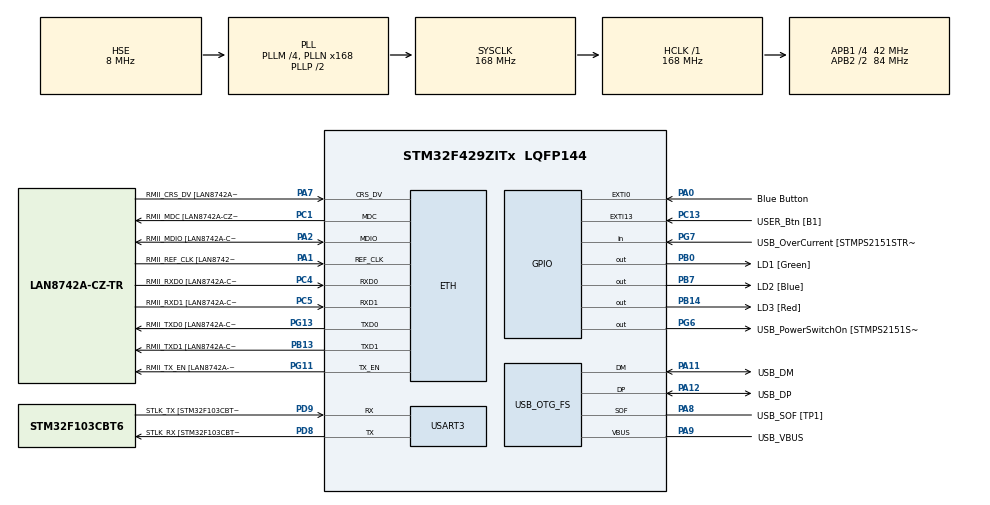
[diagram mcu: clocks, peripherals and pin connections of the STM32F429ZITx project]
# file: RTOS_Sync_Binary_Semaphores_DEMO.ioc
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ETH.MediaInterface=HAL_ETH_RMII_MODE
ETH.PHY_Name=LAN8742A_PHY_ADDRESS
ETH.PHY_Value=0
ETH.PhyAddress=0
FREERTOS.BinarySemaphores01=myBinarySem01,Dynamic,NULL
FREERTOS.Tasks01=Task1,24,128,StartTask1,Default,NULL,Dynamic,NULL,NULL;Task2,24,128,StartTask2,Default,NULL,Dynamic,NULL,NULL
FREERTOS.configGENERATE_RUN_TIME_STATS=1
FREERTOS.configRECORD_STACK_HIGH_ADDRESS=1
FREERTOS.configUSE_NEWLIB_REENTRANT=1
FREERTOS.configUSE_STATS_FORMATTING_FUNCTIONS=1
Mcu.Family=STM32F4
Mcu.Name=STM32F429ZITx
Mcu.Package=LQFP144
NVIC.PriorityGroup=NVIC_PRIORITYGROUP_4
NVIC.TIM2_IRQn=true\:15\:0\:false\:false\:true\:false\:false\:true\:true
NVIC.TimeBase=TIM2_IRQn
NVIC.TimeBaseIP=TIM2
PA0/WKUP.GPIO_Label=Blue Button
PA0/WKUP.GPIO_ModeDefaultEXTI=GPIO_MODE_IT_RISING_FALLING
PA0/WKUP.Signal=GPXTI0
PA1.GPIO_Label=RMII_REF_CLK [LAN8742A-CZ-TR_REFCLK0]
PA1.Mode=RMII
PA1.Signal=ETH_REF_CLK
PA10.GPIO_Label=USB_ID
PA10.Signal=USB_OTG_FS_ID
PA11.GPIO_Label=USB_DM
PA11.Mode=Device_Only
PA11.Signal=USB_OTG_FS_DM
PA12.GPIO_Label=USB_DP
PA12.Mode=Device_Only
PA12.Signal=USB_OTG_FS_DP
PA13.GPIO_Label=TMS
PA13.Mode=Serial_Wire
PA13.Signal=SYS_JTMS-SWDIO
PA14.GPIO_Label=TCK
PA14.Mode=Serial_Wire
PA14.Signal=SYS_JTCK-SWCLK
PA2.GPIO_Label=RMII_MDIO [LAN8742A-CZ-TR_MDIO]
PA2.Mode=RMII
PA2.Signal=ETH_MDIO
PA7.GPIO_Label=RMII_CRS_DV [LAN8742A-CZ-TR_CRS_DV]
PA7.Mode=RMII
PA7.Signal=ETH_CRS_DV
PA8.GPIO_Label=USB_SOF [TP1]
PA8.Mode=Activate_SOF_FS
PA8.Signal=USB_OTG_FS_SOF
PA9.GPIO_Label=USB_VBUS
PA9.Mode=Activate_VBUS
PA9.Signal=USB_OTG_FS_VBUS
PB0.GPIO_Label=LD1 [Green]
PB0.Signal=GPIO_Output
PB13.GPIO_Label=RMII_TXD1 [LAN8742A-CZ-TR_TXD1]
PB13.Mode=RMII
PB13.Signal=ETH_TXD1
PB14.GPIO_Label=LD3 [Red]
PB14.Signal=GPIO_Output
PB7.GPIO_Label=LD2 [Blue]
PB7.Signal=GPIO_Output
PC1.GPIO_Label=RMII_MDC [LAN8742A-CZ-TR_MDC]
PC1.Mode=RMII
PC1.Signal=ETH_MDC
PC13.GPIO_Label=USER_Btn [B1]
PC13.Signal=GPXTI13
PC14/OSC32_IN.Mode=LSE-External-Oscillator
PC14/OSC32_IN.Signal=RCC_OSC32_IN
PC15/OSC32_OUT.Mode=LSE-External-Oscillator
PC15/OSC32_OUT.Signal=RCC_OSC32_OUT
PC4.GPIO_Label=RMII_RXD0 [LAN8742A-CZ-TR_RXD0]
PC4.Mode=RMII
PC4.Signal=ETH_RXD0
PC5.GPIO_Label=RMII_RXD1 [LAN8742A-CZ-TR_RXD1]
PC5.Mode=RMII
PC5.Signal=ETH_RXD1
PD8.GPIO_Label=STLK_RX [STM32F103CBT6_PA3]
PD8.Mode=Asynchronous
PD8.Signal=USART3_TX
PD9.GPIO_Label=STLK_TX [STM32F103CBT6_PA2]
PD9.Mode=Asynchronous
PD9.Signal=USART3_RX
PG11.GPIO_Label=RMII_TX_EN [LAN8742A-CZ-TR_TXEN]
PG11.Mode=RMII
PG11.Signal=ETH_TX_EN
PG13.GPIO_Label=RMII_TXD0 [LAN8742A-CZ-TR_TXD0]
PG13.Mode=RMII
PG13.Signal=ETH_TXD0
PG6.GPIO_Label=USB_PowerSwitchOn [STMPS2151STR_EN]
PG6.Signal=GPIO_Output
PG7.GPIO_Label=USB_OverCurrent [STMPS2151STR_FAULT]
PG7.Signal=GPIO_Input
PH0/OSC_IN.GPIO_Label=MCO [STM32F103CBT6_PA8]
PH0/OSC_IN.Mode=HSE-External-Clock-Source
PH0/OSC_IN.Signal=RCC_OSC_IN
PH1/OSC_OUT.Mode=HSE-External-Clock-Source
PH1/OSC_OUT.Signal=RCC_OSC_OUT
ProjectManager.HeapSize=0x200
ProjectManager.StackSize=0x400
ProjectManager.TargetToolchain=STM32CubeIDE
RCC.48MHZClocksFreq_Value=48000000
RCC.AHBFreq_Value=168000000
RCC.APB1CLKDivider=RCC_HCLK_DIV4
RCC.APB1Freq_Value=42000000
RCC.APB1TimFreq_Value=84000000
RCC.APB2CLKDivider=RCC_HCLK_DIV2
RCC.APB2Freq_Value=84000000
RCC.APB2TimCLKDivider=2
RCC.APB2TimFreq_Value=168000000
RCC.CortexFreq_Value=168000000
RCC.HCLKFreq_Value=168000000
RCC.HSE_VALUE=8000000
RCC.HSI_VALUE=16000000
RCC.PLLM=4
RCC.PLLMUL=RCC_PLL_MUL9
RCC.PLLN=168
RCC.PLLQ=7
RCC.PRESCALERUSB=RCC_USBCLKSOURCE_PLL_DIV1_5
RCC.SYSCLKFreq_VALUE=168000000
RCC.SYSCLKSource=RCC_SYSCLKSOURCE_PLLCLK
RCC.SYSCLKSourceVirtual=RCC_SYSCLKSOURCE_PLLCLK
RCC.USBFreq_Value=48000000
RCC.VCOOutputFreq_Value=336000000
USART3.VirtualMode=VM_ASYNC
USB_OTG_FS.VirtualMode=Device_Only
VP_FREERTOS_VS_CMSIS_V2.Mode=CMSIS_V2
VP_SYS_VS_tim2.Mode=TIM2
board=NUCLEO-F429ZI

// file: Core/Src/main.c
/* USER CODE BEGIN Header */
/**
  ******************************************************************************
  * @file           : main.c
  * @brief          : Main program body
  ******************************************************************************
  * @attention
  *
  * Copyright (c) 2025 STMicroelectronics.
  * All rights reserved.
  *
  * This software is licensed under terms that can be found in the LICENSE file
  * in the root directory of this software component.
  * If no LICENSE file comes with this software, it is provided AS-IS.
  *
  ******************************************************************************
  */
/* USER CODE END Header */
#include "main.h"
#include "string.h"
#include "cmsis_os.h"

/* USER CODE BEGIN Includes */
#include <SEGGER_SYSVIEW.h>
/* USER CODE END Includes */

ETH_TxPacketConfig TxConfig;
ETH_DMADescTypeDef  DMARxDscrTab[ETH_RX_DESC_CNT]; /* Ethernet Rx DMA Descriptors */
ETH_DMADescTypeDef  DMATxDscrTab[ETH_TX_DESC_CNT]; /* Ethernet Tx DMA Descriptors */

ETH_HandleTypeDef heth;

UART_HandleTypeDef huart3;

PCD_HandleTypeDef hpcd_USB_OTG_FS;

/* Definitions for Task1 */
osThreadId_t Task1Handle;
const osThreadAttr_t Task1_attributes = {
  .name = "Task1",
  .stack_size = 128 * 4,
  .priority = (osPriority_t) osPriorityNormal,
};
/* Definitions for Task2 */
osThreadId_t Task2Handle;
const osThreadAttr_t Task2_attributes = {
  .name = "Task2",
  .stack_size = 128 * 4,
  .priority = (osPriority_t) osPriorityNormal,
};
/* Definitions for myBinarySem01 */
osSemaphoreId_t myBinarySem01Handle;
const osSemaphoreAttr_t myBinarySem01_attributes = {
  .name = "myBinarySem01"
};

void SystemClock_Config(void);
static void MX_GPIO_Init(void);
static void MX_ETH_Init(void);
static void MX_USART3_UART_Init(void);
static void MX_USB_OTG_FS_PCD_Init(void);
void StartTask1(void *argument);
void StartTask2(void *argument);

int main(void)
{

  /* MCU Configuration--------------------------------------------------------*/

  /* Reset of all peripherals, Initializes the Flash interface and the Systick. */
  HAL_Init();

  /* Configure the system clock */
  SystemClock_Config();

  /* Initialize all configured peripherals */
  MX_GPIO_Init();
  MX_ETH_Init();
  MX_USART3_UART_Init();
  MX_USB_OTG_FS_PCD_Init();

  /* Init scheduler */
  osKernelInitialize();

  /* Create the semaphores(s) */
  /* creation of myBinarySem01 */
  myBinarySem01Handle = osSemaphoreNew(1, 1, &myBinarySem01_attributes);

  /* Create the thread(s) */
  /* creation of Task1 */
  Task1Handle = osThreadNew(StartTask1, NULL, &Task1_attributes);

  /* creation of Task2 */
  Task2Handle = osThreadNew(StartTask2, NULL, &Task2_attributes);

  /* USER CODE BEGIN RTOS_EVENTS */
  /* add events, ... */
  SEGGER_SYSVIEW_Conf();
  /* USER CODE END RTOS_EVENTS */

  /* Start scheduler */
  osKernelStart();

  /* We should never get here as control is now taken by the scheduler */
  /* Infinite loop */
  while (1)
  {

  }
}

void SystemClock_Config(void)
{
  RCC_OscInitTypeDef RCC_OscInitStruct = {0};
  RCC_ClkInitTypeDef RCC_ClkInitStruct = {0};

  /** Configure the main internal regulator output voltage
  */
  __HAL_RCC_PWR_CLK_ENABLE();
  __HAL_PWR_VOLTAGESCALING_CONFIG(PWR_REGULATOR_VOLTAGE_SCALE1);

  /** Initializes the RCC Oscillators according to the specified parameters
  * in the RCC_OscInitTypeDef structure.
  */
  RCC_OscInitStruct.OscillatorType = RCC_OSCILLATORTYPE_HSE;
  RCC_OscInitStruct.HSEState = RCC_HSE_BYPASS;
  RCC_OscInitStruct.PLL.PLLState = RCC_PLL_ON;
  RCC_OscInitStruct.PLL.PLLSource = RCC_PLLSOURCE_HSE;
  RCC_OscInitStruct.PLL.PLLM = 4;
  RCC_OscInitStruct.PLL.PLLN = 168;
  RCC_OscInitStruct.PLL.PLLP = RCC_PLLP_DIV2;
  RCC_OscInitStruct.PLL.PLLQ = 7;
  if (HAL_RCC_OscConfig(&RCC_OscInitStruct) != HAL_OK)
  {
    Error_Handler();
  }

  /** Initializes the CPU, AHB and APB buses clocks
  */
  RCC_ClkInitStruct.ClockType = RCC_CLOCKTYPE_HCLK|RCC_CLOCKTYPE_SYSCLK
                              |RCC_CLOCKTYPE_PCLK1|RCC_CLOCKTYPE_PCLK2;
  RCC_ClkInitStruct.SYSCLKSource = RCC_SYSCLKSOURCE_PLLCLK;
  RCC_ClkInitStruct.AHBCLKDivider = RCC_SYSCLK_DIV1;
  RCC_ClkInitStruct.APB1CLKDivider = RCC_HCLK_DIV4;
  RCC_ClkInitStruct.APB2CLKDivider = RCC_HCLK_DIV2;

  if (HAL_RCC_ClockConfig(&RCC_ClkInitStruct, FLASH_LATENCY_5) != HAL_OK)
  {
    Error_Handler();
  }
}

static void MX_ETH_Init(void)
{

   static uint8_t MACAddr[6];

  heth.Instance = ETH;
  MACAddr[0] = 0x00;
  MACAddr[1] = 0x80;
  MACAddr[2] = 0xE1;
  MACAddr[3] = 0x00;
  MACAddr[4] = 0x00;
  MACAddr[5] = 0x00;
  heth.Init.MACAddr = &MACAddr[0];
  heth.Init.MediaInterface = HAL_ETH_RMII_MODE;
  heth.Init.TxDesc = DMATxDscrTab;
  heth.Init.RxDesc = DMARxDscrTab;
  heth.Init.RxBuffLen = 1524;

  if (HAL_ETH_Init(&heth) != HAL_OK)
  {
    Error_Handler();
  }

  memset(&TxConfig, 0 , sizeof(ETH_TxPacketConfig));
  TxConfig.Attributes = ETH_TX_PACKETS_FEATURES_CSUM | ETH_TX_PACKETS_FEATURES_CRCPAD;
  TxConfig.ChecksumCtrl = ETH_CHECKSUM_IPHDR_PAYLOAD_INSERT_PHDR_CALC;
  TxConfig.CRCPadCtrl = ETH_CRC_PAD_INSERT;

}

static void MX_USART3_UART_Init(void)
{

  huart3.Instance = USART3;
  huart3.Init.BaudRate = 115200;
  huart3.Init.WordLength = UART_WORDLENGTH_8B;
  huart3.Init.StopBits = UART_STOPBITS_1;
  huart3.Init.Parity = UART_PARITY_NONE;
  huart3.Init.Mode = UART_MODE_TX_RX;
  huart3.Init.HwFlowCtl = UART_HWCONTROL_NONE;
  huart3.Init.OverSampling = UART_OVERSAMPLING_16;
  if (HAL_UART_Init(&huart3) != HAL_OK)
  {
    Error_Handler();
  }

}

static void MX_USB_OTG_FS_PCD_Init(void)
{

  hpcd_USB_OTG_FS.Instance = USB_OTG_FS;
  hpcd_USB_OTG_FS.Init.dev_endpoints = 4;
  hpcd_USB_OTG_FS.Init.speed = PCD_SPEED_FULL;
  hpcd_USB_OTG_FS.Init.dma_enable = DISABLE;
  hpcd_USB_OTG_FS.Init.phy_itface = PCD_PHY_EMBEDDED;
  hpcd_USB_OTG_FS.Init.Sof_enable = ENABLE;
  hpcd_USB_OTG_FS.Init.low_power_enable = DISABLE;
  hpcd_USB_OTG_FS.Init.lpm_enable = DISABLE;
  hpcd_USB_OTG_FS.Init.vbus_sensing_enable = ENABLE;
  hpcd_USB_OTG_FS.Init.use_dedicated_ep1 = DISABLE;
  if (HAL_PCD_Init(&hpcd_USB_OTG_FS) != HAL_OK)
  {
    Error_Handler();
  }

}

static void MX_GPIO_Init(void)
{
  GPIO_InitTypeDef GPIO_InitStruct = {0};

  /* GPIO Ports Clock Enable */
  __HAL_RCC_GPIOC_CLK_ENABLE();
  __HAL_RCC_GPIOH_CLK_ENABLE();
  __HAL_RCC_GPIOA_CLK_ENABLE();
  __HAL_RCC_GPIOB_CLK_ENABLE();
  __HAL_RCC_GPIOD_CLK_ENABLE();
  __HAL_RCC_GPIOG_CLK_ENABLE();

  /*Configure GPIO pin Output Level */
  HAL_GPIO_WritePin(GPIOB, LD1_Pin|LD3_Pin|LD2_Pin, GPIO_PIN_RESET);

  /*Configure GPIO pin Output Level */
  HAL_GPIO_WritePin(USB_PowerSwitchOn_GPIO_Port, USB_PowerSwitchOn_Pin, GPIO_PIN_RESET);

  /*Configure GPIO pin : USER_Btn_Pin */
  GPIO_InitStruct.Pin = USER_Btn_Pin;
  GPIO_InitStruct.Mode = GPIO_MODE_IT_RISING;
  GPIO_InitStruct.Pull = GPIO_NOPULL;
  HAL_GPIO_Init(USER_Btn_GPIO_Port, &GPIO_InitStruct);

  /*Configure GPIO pins : LD1_Pin LD3_Pin LD2_Pin */
  GPIO_InitStruct.Pin = LD1_Pin|LD3_Pin|LD2_Pin;
  GPIO_InitStruct.Mode = GPIO_MODE_OUTPUT_PP;
  GPIO_InitStruct.Pull = GPIO_NOPULL;
  GPIO_InitStruct.Speed = GPIO_SPEED_FREQ_LOW;
  HAL_GPIO_Init(GPIOB, &GPIO_InitStruct);

  /*Configure GPIO pin : USB_PowerSwitchOn_Pin */
  GPIO_InitStruct.Pin = USB_PowerSwitchOn_Pin;
  GPIO_InitStruct.Mode = GPIO_MODE_OUTPUT_PP;
  GPIO_InitStruct.Pull = GPIO_NOPULL;
  GPIO_InitStruct.Speed = GPIO_SPEED_FREQ_LOW;
  HAL_GPIO_Init(USB_PowerSwitchOn_GPIO_Port, &GPIO_InitStruct);

  /*Configure GPIO pin : USB_OverCurrent_Pin */
  GPIO_InitStruct.Pin = USB_OverCurrent_Pin;
  GPIO_InitStruct.Mode = GPIO_MODE_INPUT;
  GPIO_InitStruct.Pull = GPIO_NOPULL;
  HAL_GPIO_Init(USB_OverCurrent_GPIO_Port, &GPIO_InitStruct);

  /* EXTI interrupt init*/
  HAL_NVIC_SetPriority(EXTI15_10_IRQn, 5, 0);
  HAL_NVIC_EnableIRQ(EXTI15_10_IRQn);

}

/* USER CODE BEGIN 4 */
void HAL_GPIO_EXTI_Callback(uint16_t GPIO_Pin)
{
  if (GPIO_Pin == GPIO_PIN_13) // PA0 = Blue user button on NUCLEO-F429ZI
  {
		if (osSemaphoreRelease(myBinarySem01Handle) == osOK)
			SEGGER_SYSVIEW_PrintfHost("Semaphore released.\n\r");
  }
}
/* USER CODE END 4 */

void StartTask1(void *argument)
{
  /* USER CODE BEGIN 5 */
	/* Infinite loop */
	for(;;)
	{
		SEGGER_SYSVIEW_PrintfHost("Task1\n\r");
		HAL_GPIO_WritePin(GPIOB, GPIO_PIN_0, 1);
		HAL_GPIO_WritePin(GPIOB, GPIO_PIN_7, 1);
		for (int i=1; i<10; i++){	// BLINK GREEN AND BLUE LEDS 4 TIMES
			HAL_GPIO_TogglePin(GPIOB, GPIO_PIN_0);
			HAL_GPIO_TogglePin(GPIOB, GPIO_PIN_7);
			osDelay(250);
		}
		if (osSemaphoreRelease(myBinarySem01Handle) == osOK)
			SEGGER_SYSVIEW_PrintfHost("Semaphore released.\n\r");
		osDelay(1000);
	}
  /* USER CODE END 5 */
}

void StartTask2(void *argument)
{
	/* USER CODE BEGIN StartTask2 */
	/* Infinite loop */
	for(;;)
	{
		SEGGER_SYSVIEW_PrintfHost("Task2\n\r");
		if (osSemaphoreAcquire(myBinarySem01Handle, 1000) == osOK){
			SEGGER_SYSVIEW_PrintfHost("Semaphore acquired.\n\r");
			for (int i=1; i<=8; i++){
				HAL_GPIO_TogglePin(GPIOB, GPIO_PIN_14);
				osDelay(100);
			}
		}
		HAL_GPIO_WritePin(GPIOB, GPIO_PIN_14, 0);
		osDelay(100);
	}
	/* USER CODE END StartTask2 */
}

void HAL_TIM_PeriodElapsedCallback(TIM_HandleTypeDef *htim)
{
  if (htim->Instance == TIM2) {
    HAL_IncTick();
  }
}

void Error_Handler(void)
{
  __disable_irq();
  while (1)
  {
  }
}
